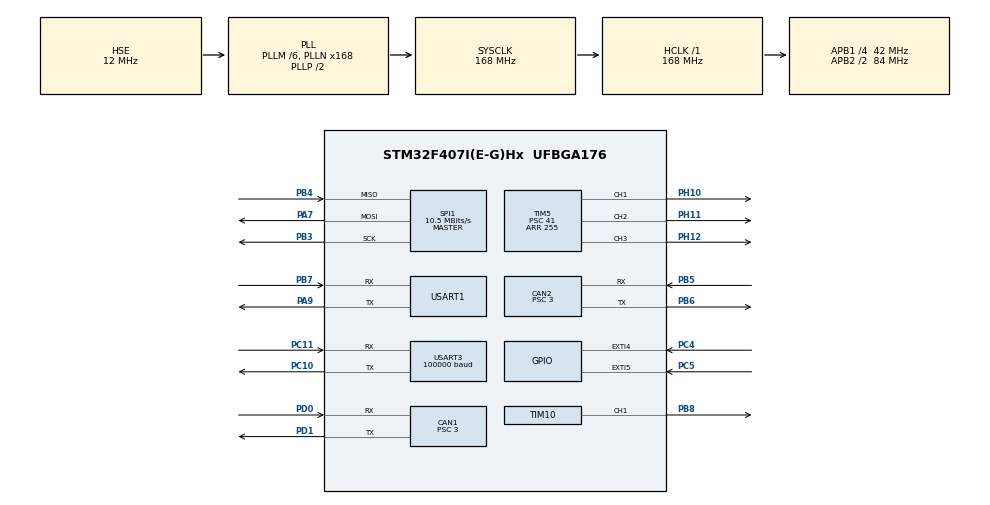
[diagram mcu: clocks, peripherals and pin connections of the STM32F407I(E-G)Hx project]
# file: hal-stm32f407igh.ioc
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CAN1.BS1=CAN_BS1_12TQ
CAN1.CalculateBaudRate=1000000
CAN1.CalculateTimeBit=1000
CAN1.CalculateTimeQuantum=71.42857142857143
CAN1.Prescaler=3
CAN2.BS1=CAN_BS1_12TQ
CAN2.CalculateBaudRate=1000000
CAN2.CalculateTimeBit=1000
CAN2.CalculateTimeQuantum=71.42857142857143
CAN2.Prescaler=3
Dma.MEMTOMEM.0.Direction=DMA_MEMORY_TO_MEMORY
Dma.MEMTOMEM.0.FIFOMode=DMA_FIFOMODE_ENABLE
Dma.MEMTOMEM.0.FIFOThreshold=DMA_FIFO_THRESHOLD_FULL
Dma.MEMTOMEM.0.Instance=DMA2_Stream1
Dma.MEMTOMEM.0.MemBurst=DMA_MBURST_SINGLE
Dma.MEMTOMEM.0.MemDataAlignment=DMA_MDATAALIGN_BYTE
Dma.MEMTOMEM.0.MemInc=DMA_MINC_ENABLE
Dma.MEMTOMEM.0.Mode=DMA_NORMAL
Dma.MEMTOMEM.0.PeriphBurst=DMA_PBURST_SINGLE
Dma.MEMTOMEM.0.PeriphDataAlignment=DMA_PDATAALIGN_BYTE
Dma.MEMTOMEM.0.PeriphInc=DMA_PINC_ENABLE
Dma.MEMTOMEM.0.Priority=DMA_PRIORITY_HIGH
Dma.MEMTOMEM.1.Direction=DMA_MEMORY_TO_MEMORY
Dma.MEMTOMEM.1.FIFOMode=DMA_FIFOMODE_ENABLE
Dma.MEMTOMEM.1.FIFOThreshold=DMA_FIFO_THRESHOLD_FULL
Dma.MEMTOMEM.1.Instance=DMA2_Stream0
Dma.MEMTOMEM.1.MemBurst=DMA_MBURST_SINGLE
Dma.MEMTOMEM.1.MemDataAlignment=DMA_MDATAALIGN_BYTE
Dma.MEMTOMEM.1.MemInc=DMA_MINC_ENABLE
Dma.MEMTOMEM.1.Mode=DMA_NORMAL
Dma.MEMTOMEM.1.PeriphBurst=DMA_PBURST_SINGLE
Dma.MEMTOMEM.1.PeriphDataAlignment=DMA_PDATAALIGN_BYTE
Dma.MEMTOMEM.1.PeriphInc=DMA_PINC_ENABLE
Dma.MEMTOMEM.1.Priority=DMA_PRIORITY_HIGH
Dma.Request0=MEMTOMEM
Dma.Request1=MEMTOMEM
Dma.Request2=USART1_RX
Dma.Request3=USART1_TX
Dma.Request4=USART3_RX
Dma.USART1_RX.2.Direction=DMA_PERIPH_TO_MEMORY
Dma.USART1_RX.2.FIFOMode=DMA_FIFOMODE_DISABLE
Dma.USART1_RX.2.Instance=DMA2_Stream2
Dma.USART1_RX.2.MemDataAlignment=DMA_MDATAALIGN_BYTE
Dma.USART1_RX.2.MemInc=DMA_MINC_ENABLE
Dma.USART1_RX.2.Mode=DMA_NORMAL
Dma.USART1_RX.2.PeriphDataAlignment=DMA_PDATAALIGN_BYTE
Dma.USART1_RX.2.PeriphInc=DMA_PINC_DISABLE
Dma.USART1_RX.2.Priority=DMA_PRIORITY_HIGH
Dma.USART1_TX.3.Direction=DMA_MEMORY_TO_PERIPH
Dma.USART1_TX.3.FIFOMode=DMA_FIFOMODE_DISABLE
Dma.USART1_TX.3.Instance=DMA2_Stream7
Dma.USART1_TX.3.MemDataAlignment=DMA_MDATAALIGN_BYTE
Dma.USART1_TX.3.MemInc=DMA_MINC_ENABLE
Dma.USART1_TX.3.Mode=DMA_NORMAL
Dma.USART1_TX.3.PeriphDataAlignment=DMA_PDATAALIGN_BYTE
Dma.USART1_TX.3.PeriphInc=DMA_PINC_DISABLE
Dma.USART1_TX.3.Priority=DMA_PRIORITY_HIGH
Dma.USART3_RX.4.Direction=DMA_PERIPH_TO_MEMORY
Dma.USART3_RX.4.FIFOMode=DMA_FIFOMODE_DISABLE
Dma.USART3_RX.4.Instance=DMA1_Stream1
Dma.USART3_RX.4.MemDataAlignment=DMA_MDATAALIGN_BYTE
Dma.USART3_RX.4.MemInc=DMA_MINC_ENABLE
Dma.USART3_RX.4.Mode=DMA_NORMAL
Dma.USART3_RX.4.PeriphDataAlignment=DMA_PDATAALIGN_BYTE
Dma.USART3_RX.4.PeriphInc=DMA_PINC_DISABLE
Dma.USART3_RX.4.Priority=DMA_PRIORITY_LOW
Mcu.Family=STM32F4
Mcu.Name=STM32F407I(E-G)Hx
Mcu.Package=UFBGA176
NVIC.CAN1_RX0_IRQn=true\:0\:0\:false\:false\:true\:true\:true\:true
NVIC.DMA1_Stream1_IRQn=true\:0\:0\:false\:false\:true\:false\:true\:true
NVIC.DMA2_Stream2_IRQn=true\:0\:0\:false\:false\:true\:false\:true\:true
NVIC.DMA2_Stream7_IRQn=true\:0\:0\:false\:false\:true\:false\:true\:true
NVIC.EXTI4_IRQn=true\:0\:0\:false\:false\:true\:true\:true\:true
NVIC.EXTI9_5_IRQn=true\:0\:0\:false\:false\:true\:true\:true\:true
NVIC.PriorityGroup=NVIC_PRIORITYGROUP_4
NVIC.TIM3_IRQn=true\:0\:0\:false\:false\:true\:true\:true\:true
NVIC.USART1_IRQn=true\:0\:0\:false\:false\:true\:false\:true\:true
NVIC.USART3_IRQn=true\:0\:0\:false\:false\:true\:true\:true\:true
PA13.Mode=Serial_Wire
PA13.Signal=SYS_JTMS-SWDIO
PA14.Mode=Serial_Wire
PA14.Signal=SYS_JTCK-SWCLK
PA7.Mode=Full_Duplex_Master
PA7.Signal=SPI1_MOSI
PA9.Mode=Asynchronous
PA9.Signal=USART1_TX
PB3.Mode=Full_Duplex_Master
PB3.Signal=SPI1_SCK
PB4.Mode=Full_Duplex_Master
PB4.Signal=SPI1_MISO
PB5.Mode=CAN_Activate
PB5.Signal=CAN2_RX
PB6.Mode=CAN_Activate
PB6.Signal=CAN2_TX
PB7.GPIO_ModeDefaultPP=GPIO_MODE_AF_PP
PB7.GPIO_PuPd=GPIO_NOPULL
PB7.Mode=Asynchronous
PB7.Signal=USART1_RX
PB8.Signal=S_TIM10_CH1
PC10.Mode=Asynchronous
PC10.Signal=USART3_TX
PC11.Mode=Asynchronous
PC11.Signal=USART3_RX
PC4.Signal=GPXTI4
PC5.Signal=GPXTI5
PD0.Mode=CAN_Activate
PD0.Signal=CAN1_RX
PD1.Mode=CAN_Activate
PD1.Signal=CAN1_TX
PH0-OSC_IN.Mode=HSE-External-Oscillator
PH0-OSC_IN.Signal=RCC_OSC_IN
PH1-OSC_OUT.Mode=HSE-External-Oscillator
PH1-OSC_OUT.Signal=RCC_OSC_OUT
PH10.Signal=S_TIM5_CH1
PH11.Signal=S_TIM5_CH2
PH12.Signal=S_TIM5_CH3
ProjectManager.HeapSize=0x200
ProjectManager.StackSize=0x400
ProjectManager.TargetToolchain=CMake
RCC.48MHZClocksFreq_Value=84000000
RCC.AHBFreq_Value=168000000
RCC.APB1CLKDivider=RCC_HCLK_DIV4
RCC.APB1Freq_Value=42000000
RCC.APB1TimFreq_Value=84000000
RCC.APB2CLKDivider=RCC_HCLK_DIV2
RCC.APB2Freq_Value=84000000
RCC.APB2TimFreq_Value=168000000
RCC.CortexFreq_Value=168000000
RCC.HCLKFreq_Value=168000000
RCC.HSE_VALUE=12000000
RCC.HSI_VALUE=16000000
RCC.LSE_VALUE=32768
RCC.PLLM=6
RCC.PLLN=168
RCC.PLLSourceVirtual=RCC_PLLSOURCE_HSE
RCC.SYSCLKFreq_VALUE=168000000
RCC.SYSCLKSource=RCC_SYSCLKSOURCE_PLLCLK
RCC.VCOOutputFreq_Value=336000000
SH.S_TIM10_CH1.0=TIM10_CH1,PWM Generation1 CH1
SH.S_TIM5_CH1.0=TIM5_CH1,PWM Generation1 CH1
SH.S_TIM5_CH2.0=TIM5_CH2,PWM Generation2 CH2
SH.S_TIM5_CH3.0=TIM5_CH3,PWM Generation3 CH3
SPI1.BaudRatePrescaler=SPI_BAUDRATEPRESCALER_8
SPI1.CalculateBaudRate=10.5 MBits/s
SPI1.Direction=SPI_DIRECTION_2LINES
SPI1.Mode=SPI_MODE_MASTER
SPI1.VirtualType=VM_MASTER
TIM10.Channel=TIM_CHANNEL_1
TIM10.Period=1999
TIM10.Prescaler=83
TIM3.Period=999
TIM3.Prescaler=419
TIM5.AutoReloadPreload=TIM_AUTORELOAD_PRELOAD_ENABLE
TIM5.Channel-PWM\ Generation1\ CH1=TIM_CHANNEL_1
TIM5.Channel-PWM\ Generation2\ CH2=TIM_CHANNEL_2
TIM5.Channel-PWM\ Generation3\ CH3=TIM_CHANNEL_3
TIM5.Period=255
TIM5.Prescaler=41
USART1.VirtualMode=VM_ASYNC
USART3.BaudRate=100000
USART3.Parity=PARITY_EVEN
USART3.VirtualMode=VM_ASYNC
VP_TIM10_VS_ClockSourceINT.Mode=Enable_Timer
VP_TIM3_VS_ClockSourceINT.Mode=Internal
VP_TIM5_VS_ClockSourceINT.Mode=Internal
board=custom

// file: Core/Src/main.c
/* USER CODE BEGIN Header */
/**
 ******************************************************************************
 * @file           : main.c
 * @brief          : Main program body
 ******************************************************************************
 * @attention
 *
 * Copyright (c) 2025 STMicroelectronics.
 * All rights reserved.
 *
 * This software is licensed under terms that can be found in the LICENSE file
 * in the root directory of this software component.
 * If no LICENSE file comes with this software, it is provided AS-IS.
 *
 ******************************************************************************
 */
/* USER CODE END Header */
#include "main.h"
#include "can.h"
#include "dma.h"
#include "gpio.h"
#include "spi.h"
#include "tim.h"
#include "usart.h"

/* USER CODE BEGIN Includes */

#include "BSP/all.h"     // IWYU pragma: keep
#include "Drivers/all.h" // IWYU pragma: keep
#include "Tasks/all.h"   // IWYU pragma: keep
#include "handle.h"
#include "main_chassis.h" // IWYU pragma: keep
#include "main_gimbal.h"  // IWYU pragma: keep
#include "type.h"

/* USER CODE END Includes */

void SystemClock_Config(void);

/* USER CODE BEGIN 0 */
u32 debug_point = 0;
u32 error_indicator = 0;
/* USER CODE END 0 */

int main(void) {

  /* MCU Configuration--------------------------------------------------------*/

  /* Reset of all peripherals, Initializes the Flash interface and the Systick.
   */
  HAL_Init();

  /* Configure the system clock */
  SystemClock_Config();

  /* Initialize all configured peripherals */
  MX_GPIO_Init();
  MX_DMA_Init();
  MX_TIM3_Init();
  MX_TIM5_Init();
  MX_USART1_UART_Init();
  MX_CAN1_Init();
  MX_CAN2_Init();
  MX_USART3_UART_Init();
  MX_SPI1_Init();
  MX_TIM10_Init();
  /* USER CODE BEGIN 2 */

  main_gimbal();
  main_chassis();

  /* USER CODE END 2 */

  /* Infinite loop */
  while (1) {

  }
}

void SystemClock_Config(void) {
  RCC_OscInitTypeDef RCC_OscInitStruct = {0};
  RCC_ClkInitTypeDef RCC_ClkInitStruct = {0};

  /** Configure the main internal regulator output voltage
   */
  __HAL_RCC_PWR_CLK_ENABLE();
  __HAL_PWR_VOLTAGESCALING_CONFIG(PWR_REGULATOR_VOLTAGE_SCALE1);

  /** Initializes the RCC Oscillators according to the specified parameters
   * in the RCC_OscInitTypeDef structure.
   */
  RCC_OscInitStruct.OscillatorType = RCC_OSCILLATORTYPE_HSE;
  RCC_OscInitStruct.HSEState = RCC_HSE_ON;
  RCC_OscInitStruct.PLL.PLLState = RCC_PLL_ON;
  RCC_OscInitStruct.PLL.PLLSource = RCC_PLLSOURCE_HSE;
  RCC_OscInitStruct.PLL.PLLM = 6;
  RCC_OscInitStruct.PLL.PLLN = 168;
  RCC_OscInitStruct.PLL.PLLP = RCC_PLLP_DIV2;
  RCC_OscInitStruct.PLL.PLLQ = 4;
  if (HAL_RCC_OscConfig(&RCC_OscInitStruct) != HAL_OK) {
    Error_Handler();
  }

  /** Initializes the CPU, AHB and APB buses clocks
   */
  RCC_ClkInitStruct.ClockType = RCC_CLOCKTYPE_HCLK | RCC_CLOCKTYPE_SYSCLK |
                                RCC_CLOCKTYPE_PCLK1 | RCC_CLOCKTYPE_PCLK2;
  RCC_ClkInitStruct.SYSCLKSource = RCC_SYSCLKSOURCE_PLLCLK;
  RCC_ClkInitStruct.AHBCLKDivider = RCC_SYSCLK_DIV1;
  RCC_ClkInitStruct.APB1CLKDivider = RCC_HCLK_DIV4;
  RCC_ClkInitStruct.APB2CLKDivider = RCC_HCLK_DIV2;

  if (HAL_RCC_ClockConfig(&RCC_ClkInitStruct, FLASH_LATENCY_5) != HAL_OK) {
    Error_Handler();
  }
}

/* USER CODE BEGIN 4 */
void start_hal_peripherals() {

  if (HAL_TIM_Base_Start_IT(&htim3) != HAL_OK) {
    Error_Handler();
  }
  if (HAL_CAN_Start(&hcan1) != HAL_OK) {
    Error_Handler();
  }

  if (HAL_CAN_ActivateNotification(&hcan1, CAN_IT_RX_FIFO0_MSG_PENDING) !=
      HAL_OK) {
    Error_Handler();
  }

  if (HAL_CAN_ActivateNotification(&hcan1, CAN_IT_RX_FIFO1_MSG_PENDING) !=
      HAL_OK) {
    Error_Handler();
  }

  if (HAL_CAN_Start(&hcan2) != HAL_OK) {
    Error_Handler();
  }

  if (HAL_CAN_ActivateNotification(&hcan2, CAN_IT_RX_FIFO0_MSG_PENDING) !=
      HAL_OK) {
    Error_Handler();
  }

  if (HAL_CAN_ActivateNotification(&hcan2, CAN_IT_RX_FIFO1_MSG_PENDING) !=
      HAL_OK) {
    Error_Handler();
  }

  if (HAL_TIM_Base_Start(&htim10) != HAL_OK) {
    Error_Handler();
  }

  if (HAL_TIM_PWM_Start(&htim10, TIM_CHANNEL_1) != HAL_OK) {
    Error_Handler();
  }
  can_tx_queue_init(&hcan1);
  can_tx_queue_init(&hcan2);
  DWT_Init(SYSCLK_MHZ);
}

/* USER CODE END 4 */

void Error_Handler(void) {
  /* USER CODE BEGIN Error_Handler_Debug */
  /* User can add his own implementation to report the HAL error return state */
  __disable_irq();

  while (1) {
    error_indicator++;
    HAL_Delay(1);
  }
  /* USER CODE END Error_Handler_Debug */
}
#ifdef USE_FULL_ASSERT
/**
 * @brief  Reports the name of the source file and the source line number
 *         where the assert_param error has occurred.
 * @param  file: pointer to the source file name
 * @param  line: assert_param error line source number
 * @retval None
 */
void assert_failed(uint8_t *file, uint32_t line) {
  /* USER CODE BEGIN 6 */
  /* User can add his own implementation to report the file name and line
     number, ex: printf("Wrong parameters value: file %s on line %d\r\n", file,
     line) */
  /* USER CODE END 6 */
}
#endif /* USE_FULL_ASSERT */
